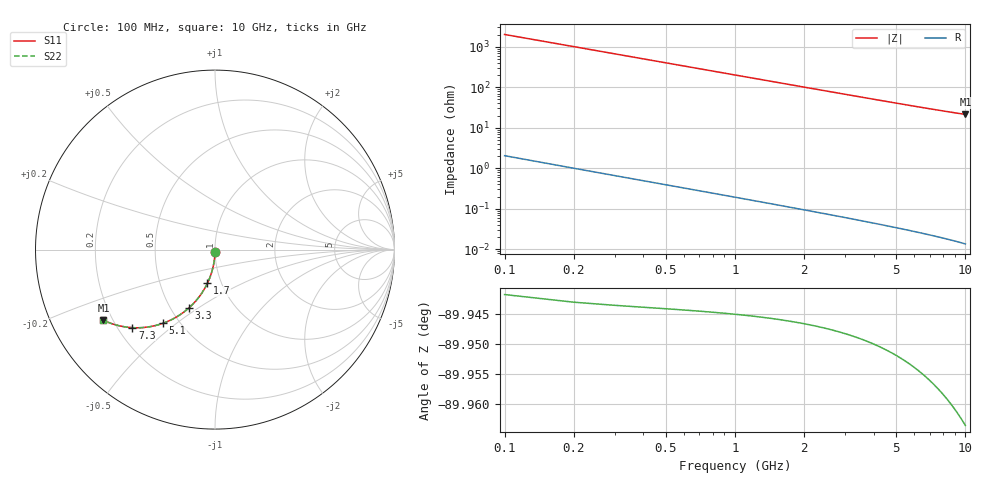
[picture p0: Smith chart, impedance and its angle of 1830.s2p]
# Hz S RI R 50.00
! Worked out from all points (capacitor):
!   100 points, 100 MHz to 10 GHz, reference 50 ohm
!   read as one part in shunt: C = 790 fF near 100 MHz
!   lowest |Z| = 21.4 ohm at 10 GHz (marker M1)
!   S11 on the Smith chart (normalised r, x): 100 MHz: 1.00, -0.02; 1.7 GHz: 0.86, -0.33; 3.3 GHz: 0.62, -0.46; 5.1 GHz: 0.41, -0.45; 7.3 GHz: 0.26, -0.37; 10 GHz: 0.16, -0.28
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1e8  0.000102 -0.0116  0.9996 -0.0133  0.9996 -0.0133  0.000102 -0.0116
2e8  -0.000368 -0.0231  0.9991 -0.0265  0.9991 -0.0265  -0.000368 -0.0231
3e8  -0.00114 -0.0346  0.9983 -0.0397  0.9983 -0.0397  -0.00114 -0.0346
4e8  -0.00222 -0.0461  0.9972 -0.0529  0.9972 -0.0529  -0.00222 -0.0461
5e8  -0.00361 -0.0576  0.9958 -0.066  0.9958 -0.066  -0.00361 -0.0576
6e8  -0.00529 -0.069  0.9941 -0.0791  0.9941 -0.0791  -0.00529 -0.069
8e8  -0.00954 -0.0916  0.9898 -0.1051  0.9898 -0.1051  -0.00954 -0.0916
1.1e9  -0.0181 -0.1248  0.9812 -0.1434  0.9812 -0.1434  -0.0181 -0.1248
1.4e9  -0.0291 -0.157  0.97 -0.1807  0.97 -0.1807  -0.0291 -0.157
1.7e9  -0.0425 -0.1879  0.9565 -0.2167  0.9565 -0.2167  -0.0425 -0.1879
1.8e9  -0.0474 -0.1979  0.9515 -0.2284  0.9515 -0.2284  -0.0474 -0.1979
2.1e9  -0.0636 -0.2268  0.9352 -0.2624  0.9352 -0.2624  -0.0636 -0.2268
2.5e9  -0.088 -0.2626  0.9105 -0.3051  0.9105 -0.3051  -0.088 -0.2626
3.3e9  -0.1445 -0.3241  0.8533 -0.3803  0.8533 -0.3803  -0.1445 -0.3241
3.4e9  -0.1522 -0.3308  0.8456 -0.3887  0.8456 -0.3887  -0.1522 -0.3308
4.2e9  -0.2159 -0.3761  0.7809 -0.4479  0.7809 -0.4479  -0.2159 -0.3761
5.1e9  -0.2902 -0.4106  0.7054 -0.4981  0.7054 -0.4981  -0.2902 -0.4106
5.9e9  -0.3551 -0.4281  0.6391 -0.5297  0.6391 -0.5297  -0.3551 -0.4281
6.7e9  -0.4169 -0.4351  0.5757 -0.5511  0.5757 -0.5511  -0.4169 -0.4351
7.3e9  -0.4605 -0.4348  0.5308 -0.5616  0.5308 -0.5616  -0.4605 -0.4348
8.4e9  -0.5331 -0.4244  0.4554 -0.5714  0.4554 -0.5714  -0.5331 -0.4244
1e10  -0.6214 -0.3938  0.3621 -0.5709  0.3621 -0.5709  -0.6214 -0.3938
